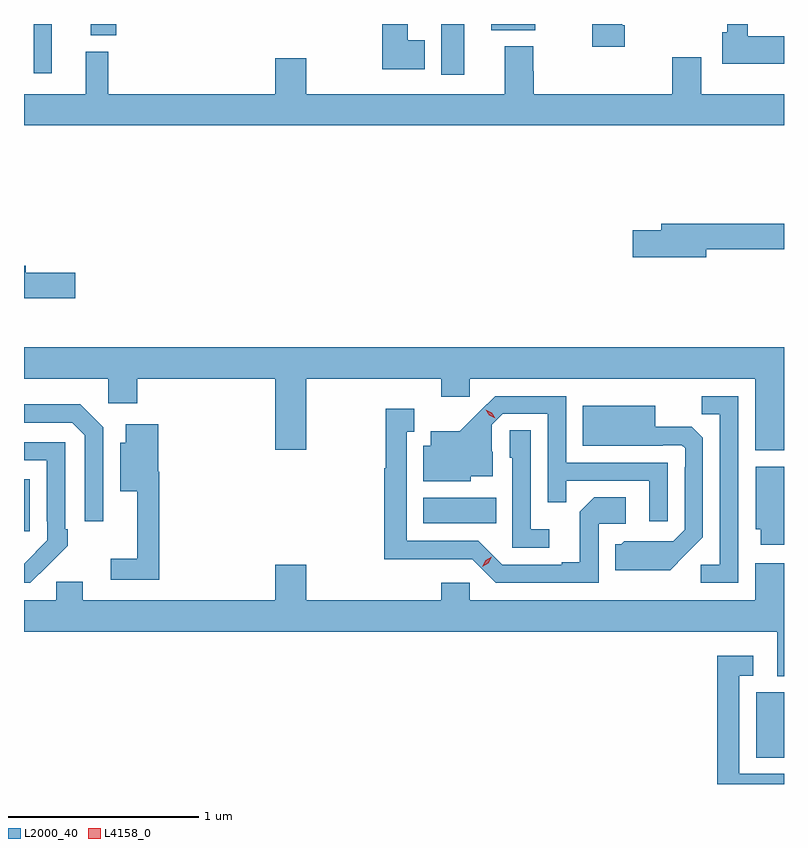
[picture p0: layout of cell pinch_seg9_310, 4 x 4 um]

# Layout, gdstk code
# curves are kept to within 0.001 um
import gdstk
lib = gdstk.Library(unit=1e-6, precision=1e-09)
def R(c, l, rs):  # rectangles x0, y0, x1, y1
    for r in rs: c.add(gdstk.rectangle(r[:2], r[2:], *l))
def P(c, l, *ps):  # polygons
    for p in ps: c.add(gdstk.Polygon(p, *l))
L2000_40 = (2000, 40)
L4158_0 = (4158, 0)

pinch_seg9_310 = lib.new_cell('pinch_seg9_310')
R(pinch_seg9_310, L2000_40, [(611.096,1178.44,611.242,1178.784), (607.242,1179.633,607.273,1179.907), (609.344,1179.674,609.728,1179.808), (609.437,1182.036,609.559,1182.302), (607.292,1182.042,607.389,1182.302), (607.592,1182.242,607.727,1182.302), (609.701,1182.269,609.934,1182.302)])
P(pinch_seg9_310, L2000_40, [(611.242,1182.238),(611.05,1182.238),(611.05,1182.302),(610.943,1182.302),(610.943,1182.258),(610.916,1182.258),(610.916,1182.092),(611.242,1182.092)],
  [(609.352,1182.217),(609.262,1182.217),(609.262,1182.302),(609.128,1182.302),(609.128,1182.065),(609.352,1182.065)],
  [(610.403,1182.295),(610.39,1182.295),(610.39,1182.302),(610.232,1182.302),(610.232,1182.183),(610.403,1182.183)],
  [(609.773,1182.184),(609.773,1181.932),(608.728,1181.932),(608.728,1182.121),(608.564,1182.121),(608.564,1181.932),(607.685,1181.932),(607.685,1182.157),(607.568,1182.157),(607.568,1181.932),(607.242,1181.932),(607.242,1181.768),(611.242,1181.768),(611.242,1181.932),(610.807,1181.932),(610.807,1182.127),(610.655,1182.127),(610.655,1181.932),(609.926,1181.932),(609.926,1182.053),(609.921,1182.053),(609.921,1182.184)],
  [(610.834,1181.116),(611.242,1181.116),(611.242,1181.252),(610.595,1181.252),(610.595,1181.216),(610.446,1181.216),(610.446,1181.074),(610.834,1181.074)],
  [(607.513,1180.994),(607.252,1180.994),(607.252,1181.03),(607.242,1181.03),(607.242,1180.859),(607.513,1180.859)],
  [(611.242,1180.6),(607.242,1180.6),(607.242,1180.436),(607.686,1180.436),(607.686,1180.305),(607.838,1180.305),(607.838,1180.436),(608.564,1180.436),(608.564,1180.062),(608.728,1180.062),(608.728,1180.436),(609.437,1180.436),(609.437,1180.341),(609.588,1180.341),(609.588,1180.436),(611.09,1180.436),(611.09,1180.058),(611.242,1180.058)],
  [(610.629,1179.993),(610.095,1179.993),(610.095,1180.344),(609.722,1180.344),(609.535,1180.159),(609.383,1180.159),(609.383,1180.081),(609.344,1180.081),(609.344,1179.896),(609.594,1179.896),(609.594,1179.923),(609.709,1179.923),(609.709,1180.052),(609.705,1180.052),(609.705,1180.194),(609.762,1180.251),(609.999,1180.251),(609.999,1179.784),(610.097,1179.784),(610.097,1179.897),(610.533,1179.897),(610.533,1179.684),(610.629,1179.684)],
  [(611.001,1180.344),(610.81,1180.344),(610.81,1180.249),(610.905,1180.249),(610.905,1179.456),(610.803,1179.456),(610.803,1179.36),(611.001,1179.36)],
  [(607.659,1180.179),(607.538,1180.3),(607.242,1180.3),(607.242,1180.203),(607.497,1180.203),(607.563,1180.137),(607.563,1179.684),(607.659,1179.684)],
  [(610.723,1179.509),(610.815,1179.602),(610.815,1180.124),(610.756,1180.183),(610.564,1180.183),(610.564,1180.294),(610.184,1180.294),(610.184,1180.082),(610.604,1180.082),(610.604,1180.086),(610.704,1180.086),(610.722,1180.068),(610.722,1179.968),(610.719,1179.968),(610.719,1179.639),(610.659,1179.579),(610.402,1179.58),(610.386,1179.564),(610.355,1179.564),(610.355,1179.428),(610.643,1179.428)],
  [(610.266,1179.672),(610.408,1179.672),(610.408,1179.812),(610.243,1179.812),(610.167,1179.736),(610.167,1179.469),(610.073,1179.469),(610.073,1179.456),(609.759,1179.456),(609.633,1179.582),(609.256,1179.582),(609.256,1180.155),(609.295,1180.155),(609.295,1180.276),(609.145,1180.276),(609.145,1179.963),(609.138,1179.963),(609.138,1179.485),(609.6,1179.486),(609.726,1179.36),(610.266,1179.36)],
  [(607.955,1179.946),(607.949,1179.946),(607.949,1180.195),(607.778,1180.195),(607.778,1180.099),(607.748,1180.099),(607.748,1179.842),(607.838,1179.842),(607.838,1179.487),(607.698,1179.487),(607.698,1179.378),(607.955,1179.378)],
  [(610.006,1179.643),(609.909,1179.643),(609.909,1180.163),(609.798,1180.163),(609.798,1180.02),(609.813,1180.02),(609.813,1179.546),(610.006,1179.546)],
  [(607.367,1179.451),(607.368,1179.45),(607.473,1179.555),(607.473,1179.643),(607.458,1179.643),(607.458,1180.101),(607.242,1180.101),(607.242,1180.005),(607.362,1180.005),(607.362,1179.685),(607.365,1179.685),(607.365,1179.585),(607.242,1179.462),(607.242,1179.36),(607.276,1179.36)],
  [(611.242,1179.973),(611.093,1179.973),(611.093,1179.642),(611.12,1179.642),(611.12,1179.561),(611.242,1179.561)],
  [(611.242,1179.463),(611.09,1179.463),(611.09,1179.268),(609.588,1179.268),(609.588,1179.361),(609.437,1179.361),(609.437,1179.268),(608.728,1179.268),(608.728,1179.457),(608.564,1179.457),(608.564,1179.268),(607.552,1179.268),(607.552,1179.366),(607.413,1179.366),(607.413,1179.268),(607.242,1179.268),(607.242,1179.104),(611.207,1179.104),(611.207,1178.869),(611.242,1178.869)],
  [(611.242,1178.355),(611.007,1178.355),(611.007,1178.871),(611.08,1178.871),(611.08,1178.977),(610.891,1178.977),(610.891,1178.302),(611.242,1178.302)])
P(pinch_seg9_310, L4158_0, [(609.722,1180.228),(609.691,1180.242),(609.673,1180.271),(609.673,1180.272),(609.673,1180.272),(609.704,1180.257),(609.722,1180.228),(609.722,1180.228)],
  [(609.654,1179.446),(609.654,1179.446),(609.672,1179.479),(609.703,1179.498),(609.703,1179.498),(609.703,1179.498),(609.686,1179.465),(609.655,1179.446)])

lib.write_gds('pinch_seg9_310.gds')
